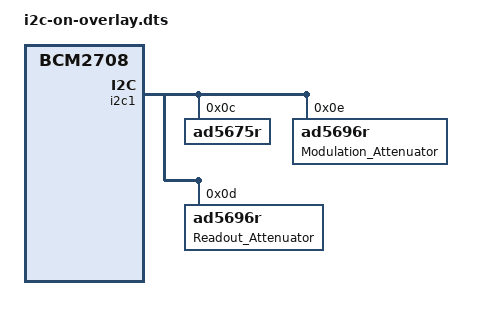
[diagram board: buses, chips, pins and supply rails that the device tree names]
// Enable the i2s interface
/dts-v1/;
/plugin/;

/ {
    compatible = "brcm,bcm2708";

    // aliases {
    //     tx0-hmc-att = &Modulation_Attenuator;
    //     tx0-hf-att = &TX0_HF_Attenuator;
    //     tx0-i-att = &TX0_I_Attenuator;
    //     tx0-q-att = &TX0_Q_Attenuator;
    //     tx1-hmc-att = &Readout_Attenuator;
    //     tx1-hf-att = &TX1_HF_Attenuator;
    //     tx1-i-att = &TX1_I_Attenuator;
    //     tx1-q-att = &TX1_Q_Attenuator;
    //     rx-q-vargain = &RX_Q_Vargainamp;
    //     rx-i-vargain = &RX_I_Vargainamp;
    // };

    fragment@00 {
        target = <&i2c1>;
        __overlay__ {
            status = "okay";  
		  ad5675r@0c { // Octal DAC
		      compatible = "ad5675r"; // device type
		      reg = <0xc>; // address of DAC 0001100
		  };

		  Modulation_Attenuator: ad5696r@0c { // One dac for RF attenuator 1
		      compatible = "ad5696r";
		      reg = <0xe>;  //we must change this address 0xe

		  };

		  Readout_Attenuator: ad5696r@0d { // second dac for RF attenuator 2
		      compatible = "ad5696r";
		      reg = <0xd>;
		  };
            };
        };
    };

